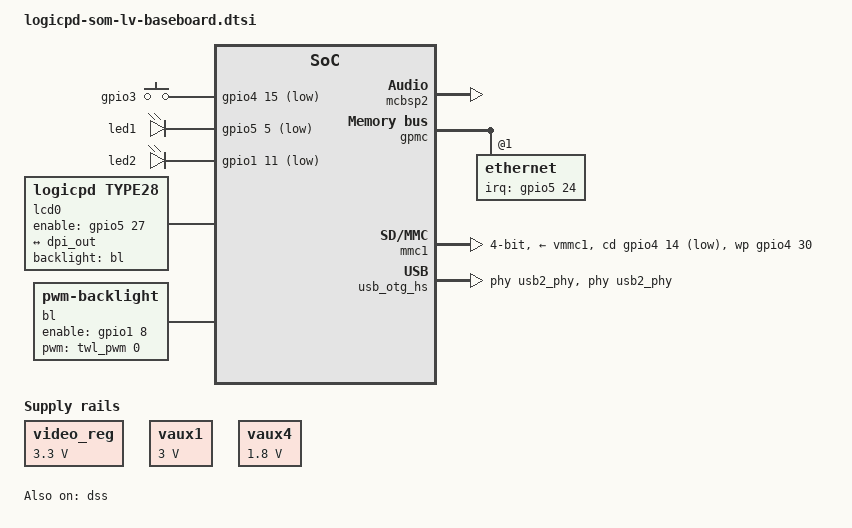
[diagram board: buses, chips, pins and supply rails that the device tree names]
// SPDX-License-Identifier: GPL-2.0-only

/ {
	gpio_keys {
		compatible = "gpio-keys";
		pinctrl-names = "default";
		pinctrl-0 = <&gpio_key_pins>;

		sysboot2 {
			label = "gpio3";
			gpios = <&gpio4 15 GPIO_ACTIVE_LOW>;	/* gpio_111 / uP_GPIO_3 */
			linux,code = <BTN_0>;
			wakeup-source;
		};
	};

	sound {
		compatible = "ti,omap-twl4030";
		ti,model = "omap3logic";
		ti,mcbsp = <&mcbsp2>;
	};

	leds {
		compatible = "gpio-leds";
		pinctrl-names = "default";
		pinctrl-0 = <&led_pins &led_pins_wkup>;

		led1 {
			label = "led1";
			gpios = <&gpio5 5 GPIO_ACTIVE_LOW>;	/* gpio133 */
			linux,default-trigger = "cpu0";
		};

		led2 {
			label = "led2";
			gpios = <&gpio1 11 GPIO_ACTIVE_LOW>;	/* gpio11 */
			linux,default-trigger = "none";
		};
	};
};

&vaux1 {
	regulator-min-microvolt = <3000000>;
	regulator-max-microvolt = <3000000>;
};

&vaux4 {
	regulator-min-microvolt = <1800000>;
	regulator-max-microvolt = <1800000>;
};

&mcbsp2 {
	status = "okay";
	pinctrl-names = "default";
	pinctrl-0 = <&mcbsp2_pins>;
};

&charger {
	ti,bb-uvolt = <3200000>;
	ti,bb-uamp = <150>;
};

&gpmc {
	ranges = <0 0 0x30000000 0x1000000	/* CS0: 16MB for NAND */
		  1 0 0x2c000000 0x1000000	/* CS1: 16MB for LAN9221 */
		  2 0 0x10000000 0x2000000>;    /* CS2: 32MB for NOR */

	ethernet@gpmc {
		pinctrl-names = "default";
		pinctrl-0 = <&lan9221_pins>;
		interrupt-parent = <&gpio5>;
		interrupts = <24 IRQ_TYPE_LEVEL_LOW>;		/* gpio_152 */
		reg = <1 0 0xff>;
	};
};

&vpll2 {
	regulator-always-on;
};

&dss {
	status = "okay";
	vdds_dsi-supply = <&vpll2>;
	vdda_video-supply = <&video_reg>;
	pinctrl-names = "default";
	pinctrl-0 = <&dss_dpi_pins1>;
	port {
		dpi_out: endpoint {
			remote-endpoint = <&lcd_in>;
			data-lines = <16>;
		};
	};
};

/ {
	aliases {
		display0 = &lcd0;
	};

	video_reg: video_reg {
		compatible = "regulator-fixed";
		regulator-name = "fixed-supply";
		regulator-min-microvolt = <3300000>;
		regulator-max-microvolt = <3300000>;
	};

	lcd0: display {
		/* This isn't the exact LCD, but the timings meet spec */
		compatible = "logicpd,type28";
		pinctrl-names = "default";
		pinctrl-0 = <&lcd_enable_pin>;
		backlight = <&bl>;
		enable-gpios = <&gpio5 27 GPIO_ACTIVE_HIGH>;
		port {
			lcd_in: endpoint {
				remote-endpoint = <&dpi_out>;
			};
		};
	};

	bl: backlight {
		compatible = "pwm-backlight";
		pinctrl-names = "default";
		pinctrl-0 = <&backlight_pins>;
		pwms = <&twl_pwm 0 5000000>;
		brightness-levels = <0 10 20 30 40 50 60 70 80 90 100>;
		default-brightness-level = <7>;
		enable-gpios = <&gpio1 8 GPIO_ACTIVE_HIGH>; /* gpio_8 */
	};
};

&mmc1 {
	interrupts-extended = <&intc 83 &omap3_pmx_core 0x11a>;
	pinctrl-names = "default";
	pinctrl-0 = <&mmc1_pins>;
	wp-gpios = <&gpio4 30 GPIO_ACTIVE_HIGH>;		/* gpio_126 */
	cd-gpios = <&gpio4 14 GPIO_ACTIVE_LOW>;			/* gpio_110 */
	vmmc-supply = <&vmmc1>;
	bus-width = <4>;
	cap-power-off-card;
};

&omap3_pmx_core {
	gpio_key_pins: pinmux_gpio_key_pins {
		pinctrl-single,pins = <
			OMAP3_CORE1_IOPAD(0x212e, PIN_INPUT_PULLUP | MUX_MODE4)	/* cam_xclkb.gpio_111 / uP_GPIO_3*/
		>;
	};

	led_pins: pinmux_led_pins {
		pinctrl-single,pins = <
			OMAP3_CORE1_IOPAD(0x215e, PIN_OUTPUT_PULLUP | MUX_MODE4)	/* sdmmc2_dat1.gpio_133 / uP_GPIO_0 */
		>;
	};

	lan9221_pins: pinmux_lan9221_pins {
		pinctrl-single,pins = <
			OMAP3_CORE1_IOPAD(0x2184, PIN_INPUT_PULLUP | MUX_MODE4)	/* mcbsp4_clkx.gpio_152 */
		>;
	};

	mmc1_pins: pinmux_mmc1_pins {
		pinctrl-single,pins = <
			OMAP3_CORE1_IOPAD(0x2144, PIN_OUTPUT | MUX_MODE0)	/* sdmmc1_clk.sdmmc1_clk */
			OMAP3_CORE1_IOPAD(0x2146, PIN_INPUT | MUX_MODE0)	/* sdmmc1_cmd.sdmmc1_cmd */
			OMAP3_CORE1_IOPAD(0x2148, PIN_INPUT | MUX_MODE0)	/* sdmmc1_dat0.sdmmc1_dat0 */
			OMAP3_CORE1_IOPAD(0x214a, PIN_INPUT | MUX_MODE0)	/* sdmmc1_dat1.sdmmc1_dat1 */
			OMAP3_CORE1_IOPAD(0x214c, PIN_INPUT | MUX_MODE0)	/* sdmmc1_dat2.sdmmc1_dat2 */
			OMAP3_CORE1_IOPAD(0x214e, PIN_INPUT | MUX_MODE0)	/* sdmmc1_dat3.sdmmc1_dat3 */
			OMAP3_CORE1_IOPAD(0x2132, PIN_INPUT_PULLUP | MUX_MODE4)	/* cam_strobe.gpio_126 */
			OMAP3_CORE1_IOPAD(0x212c, PIN_INPUT_PULLUP | MUX_MODE4)	/* cam_d11.gpio_110 */
		>;
	};

	lcd_enable_pin: pinmux_lcd_enable_pin {
		pinctrl-single,pins = <
			OMAP3_CORE1_IOPAD(0x218a, PIN_OUTPUT | PIN_OFF_OUTPUT_LOW | MUX_MODE4)       /* mcbsp4_fs.gpio_155 */
		>;
	};

	dss_dpi_pins1: pinmux_dss_dpi_pins1 {
		pinctrl-single,pins = <
			OMAP3_CORE1_IOPAD(0x20d4, PIN_OUTPUT_PULLDOWN | PIN_OFF_OUTPUT_LOW | MUX_MODE0)   /* dss_pclk.dss_pclk */
			OMAP3_CORE1_IOPAD(0x20d6, PIN_OUTPUT_PULLDOWN | PIN_OFF_OUTPUT_LOW | MUX_MODE0)   /* dss_hsync.dss_hsync */
			OMAP3_CORE1_IOPAD(0x20d8, PIN_OUTPUT_PULLDOWN | PIN_OFF_OUTPUT_LOW | MUX_MODE0)   /* dss_vsync.dss_vsync */
			OMAP3_CORE1_IOPAD(0x20da, PIN_OUTPUT_PULLDOWN | PIN_OFF_OUTPUT_LOW | MUX_MODE0)   /* dss_acbias.dss_acbias */

			OMAP3_CORE1_IOPAD(0x20dc, PIN_OUTPUT_PULLDOWN | PIN_OFF_OUTPUT_LOW | MUX_MODE0)   /* dss_data0.dss_data0 */
			OMAP3_CORE1_IOPAD(0x20de, PIN_OUTPUT_PULLDOWN | PIN_OFF_OUTPUT_LOW | MUX_MODE0)   /* dss_data1.dss_data1 */
			OMAP3_CORE1_IOPAD(0x20e0, PIN_OUTPUT_PULLDOWN | PIN_OFF_OUTPUT_LOW | MUX_MODE0)   /* dss_data2.dss_data2 */
			OMAP3_CORE1_IOPAD(0x20e2, PIN_OUTPUT_PULLDOWN | PIN_OFF_OUTPUT_LOW | MUX_MODE0)   /* dss_data3.dss_data3 */
			OMAP3_CORE1_IOPAD(0x20e4, PIN_OUTPUT_PULLDOWN | PIN_OFF_OUTPUT_LOW | MUX_MODE0)   /* dss_data4.dss_data4 */
			OMAP3_CORE1_IOPAD(0x20e6, PIN_OUTPUT_PULLDOWN | PIN_OFF_OUTPUT_LOW | MUX_MODE0)   /* dss_data5.dss_data5 */
			OMAP3_CORE1_IOPAD(0x20e8, PIN_OUTPUT_PULLDOWN | PIN_OFF_OUTPUT_LOW | MUX_MODE0)   /* dss_data6.dss_data6 */
			OMAP3_CORE1_IOPAD(0x20ea, PIN_OUTPUT_PULLDOWN | PIN_OFF_OUTPUT_LOW | MUX_MODE0)   /* dss_data7.dss_data7 */
			OMAP3_CORE1_IOPAD(0x20ec, PIN_OUTPUT_PULLDOWN | PIN_OFF_OUTPUT_LOW | MUX_MODE0)   /* dss_data8.dss_data8 */
			OMAP3_CORE1_IOPAD(0x20ee, PIN_OUTPUT_PULLDOWN | PIN_OFF_OUTPUT_LOW | MUX_MODE0)   /* dss_data9.dss_data9 */
			OMAP3_CORE1_IOPAD(0x20f0, PIN_OUTPUT_PULLDOWN | PIN_OFF_OUTPUT_LOW | MUX_MODE0)   /* dss_data10.dss_data10 */
			OMAP3_CORE1_IOPAD(0x20f2, PIN_OUTPUT_PULLDOWN | PIN_OFF_OUTPUT_LOW | MUX_MODE0)   /* dss_data11.dss_data11 */
			OMAP3_CORE1_IOPAD(0x20f4, PIN_OUTPUT_PULLDOWN | PIN_OFF_OUTPUT_LOW | MUX_MODE0)   /* dss_data12.dss_data12 */
			OMAP3_CORE1_IOPAD(0x20f6, PIN_OUTPUT_PULLDOWN | PIN_OFF_OUTPUT_LOW | MUX_MODE0)   /* dss_data13.dss_data13 */
			OMAP3_CORE1_IOPAD(0x20f8, PIN_OUTPUT_PULLDOWN | PIN_OFF_OUTPUT_LOW | MUX_MODE0)   /* dss_data14.dss_data14 */
			OMAP3_CORE1_IOPAD(0x20fa, PIN_OUTPUT_PULLDOWN | PIN_OFF_OUTPUT_LOW | MUX_MODE0)   /* dss_data15.dss_data15 */
		>;
	};
};

&omap3_pmx_wkup {
	led_pins_wkup: pinmux_led_pins_wkup {
		pinctrl-single,pins = <
			OMAP3_WKUP_IOPAD(0x2a24, PIN_OUTPUT_PULLUP | MUX_MODE4)	/* jtag_emu0.gpio_11 / uP_GPIO_1 */
		>;
	};

	backlight_pins: pinmux_backlight_pins {
		pinctrl-single,pins = <
			OMAP3_WKUP_IOPAD(0x2a16, PIN_OUTPUT | PIN_OFF_OUTPUT_LOW | MUX_MODE4)       /* sys_boot6.gpio_8 */
		>;
	};
};


&uart1 {
	interrupts-extended = <&intc 72 &omap3_pmx_core OMAP3_UART1_RX>;
};

/* Wired to the tps65950 on the SOM, only the USB connector is on the devkit */
&usb_otg_hs {
	pinctrl-names = "default";
	pinctrl-0 = <&hsusb_otg_pins>;
	interface-type = <0>;
	usb-phy = <&usb2_phy>;
	phys = <&usb2_phy>;
	phy-names = "usb2-phy";
	mode = <3>;
	power = <50>;
};
